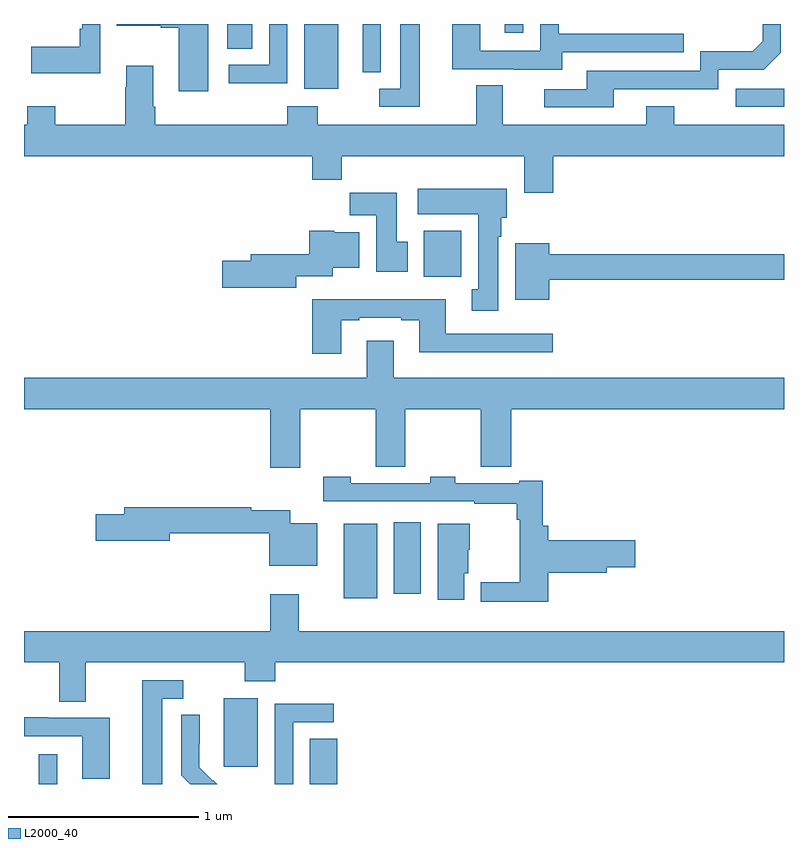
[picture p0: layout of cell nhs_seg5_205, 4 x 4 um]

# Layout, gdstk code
import gdstk
lib = gdstk.Library(unit=1e-6, precision=1e-09)
def R(c, l, rs):  # rectangles x0, y0, x1, y1
    for r in rs: c.add(gdstk.rectangle(r[:2], r[2:], *l))
def P(c, l, *ps):  # polygons
    for p in ps: c.add(gdstk.Polygon(p, *l))
L2000_40 = (2000, 40)

nhs_seg5_205 = lib.new_cell('nhs_seg5_205')
R(nhs_seg5_205, L2000_40, [(123.078,842.799,123.175,842.956), (124.505,842.799,124.649,843.038), (124.052,842.889,124.231,843.25), (124.682,843.776,124.858,844.168), (124.946,843.801,125.089,844.177), (125.105,845.468,125.302,845.71), (126.747,846.363,127,846.459), (124.475,846.458,124.654,846.799), (124.07,846.67,124.201,846.799), (125.531,846.753,125.628,846.799)])
P(nhs_seg5_205, L2000_40, [(125.833,846.651),(126.473,846.651),(126.473,846.747),(125.814,846.747),(125.814,846.799),(125.718,846.799),(125.718,846.657),(125.4,846.657),(125.4,846.799),(125.255,846.799),(125.255,846.561),(125.579,846.561),(125.579,846.557),(125.833,846.557)],
  [(126.103,846.456),(126.654,846.456),(126.654,846.558),(126.894,846.558),(126.984,846.648),(126.984,846.799),(126.888,846.799),(126.888,846.708),(126.835,846.655),(126.558,846.655),(126.558,846.552),(125.963,846.552),(125.963,846.456),(125.739,846.456),(125.739,846.36),(126.103,846.36)],
  [(124.878,846.799),(124.784,846.799),(124.784,846.698),(124.782,846.698),(124.782,846.544),(124.878,846.544)],
  [(124.386,846.799),(124.29,846.799),(124.29,846.585),(124.077,846.585),(124.077,846.487),(124.386,846.487)],
  [(123.402,846.799),(123.306,846.799),(123.306,846.775),(123.294,846.775),(123.294,846.679),(123.037,846.679),(123.037,846.539),(123.402,846.539)],
  [(123.97,846.799),(123.489,846.799),(123.489,846.791),(123.719,846.791),(123.719,846.779),(123.815,846.779),(123.815,846.444),(123.97,846.444)],
  [(125.083,846.799),(124.979,846.799),(124.979,846.459),(124.869,846.459),(124.869,846.363),(125.083,846.363)],
  [(125.786,846.104),(127,846.104),(127,846.268),(126.423,846.268),(126.423,846.367),(126.275,846.367),(126.275,846.268),(125.521,846.268),(125.521,846.476),(125.381,846.476),(125.381,846.268),(124.545,846.268),(124.545,846.367),(124.385,846.367),(124.385,846.268),(123.692,846.268),(123.692,846.364),(123.679,846.364),(123.679,846.58),(123.539,846.58),(123.539,846.467),(123.532,846.467),(123.532,846.268),(123.165,846.268),(123.165,846.367),(123.018,846.367),(123.018,846.268),(123,846.268),(123,846.104),(124.517,846.104),(124.517,845.98),(124.673,845.98),(124.673,846.104),(125.633,846.104),(125.633,845.91),(125.786,845.91)],
  [(125.497,845.678),(125.512,845.678),(125.512,845.778),(125.542,845.778),(125.542,845.932),(125.073,845.932),(125.073,845.798),(125.39,845.798),(125.39,845.402),(125.357,845.402),(125.357,845.289),(125.497,845.289)],
  [(125.02,845.652),(124.963,845.652),(124.963,845.911),(124.714,845.911),(124.714,845.792),(124.853,845.792),(124.853,845.496),(125.02,845.496)],
  [(124.432,845.472),(124.624,845.472),(124.624,845.516),(124.765,845.516),(124.765,845.704),(124.632,845.704),(124.632,845.71),(124.502,845.71),(124.502,845.588),(124.193,845.588),(124.193,845.552),(124.044,845.552),(124.044,845.41),(124.432,845.41)],
  [(125.764,845.452),(127,845.452),(127,845.588),(125.764,845.588),(125.764,845.644),(125.585,845.644),(125.585,845.348),(125.764,845.348)],
  [(124.669,845.241),(124.765,845.241),(124.765,845.253),(124.985,845.253),(124.985,845.241),(125.081,845.241),(125.081,845.072),(125.782,845.072),(125.782,845.169),(125.221,845.169),(125.221,845.35),(124.517,845.35),(124.517,845.064),(124.669,845.064)],
  [(124.455,844.772),(124.852,844.772),(124.852,844.468),(125.006,844.468),(125.006,844.772),(125.404,844.772),(125.404,844.468),(125.564,844.468),(125.564,844.772),(127,844.772),(127,844.936),(124.945,844.936),(124.945,845.131),(124.805,845.131),(124.805,844.936),(123,844.936),(123,844.772),(124.295,844.772),(124.295,844.464),(124.455,844.464)],
  [(125.759,843.91),(126.067,843.91),(126.067,843.94),(126.217,843.94),(126.217,844.082),(125.759,844.082),(125.759,844.159),(125.729,844.159),(125.729,844.396),(125.606,844.396),(125.606,844.383),(125.271,844.383),(125.271,844.416),(125.139,844.416),(125.139,844.383),(124.719,844.383),(124.719,844.416),(124.575,844.416),(124.575,844.287),(125.371,844.287),(125.371,844.275),(125.593,844.275),(125.593,844.19),(125.608,844.19),(125.608,843.86),(125.403,843.86),(125.403,843.758),(125.759,843.758)],
  [(124.543,844.171),(124.402,844.171),(124.402,844.239),(124.196,844.239),(124.196,844.256),(123.527,844.256),(123.527,844.22),(123.378,844.22),(123.378,844.078),(123.766,844.078),(123.766,844.12),(124.292,844.12),(124.292,843.947),(124.543,843.947)],
  [(125.317,843.909),(125.338,843.909),(125.338,844.032),(125.347,844.032),(125.347,844.168),(125.177,844.168),(125.177,843.768),(125.317,843.768)],
  [(123.325,843.44),(124.162,843.44),(124.162,843.341),(124.322,843.341),(124.322,843.44),(127,843.44),(127,843.604),(124.447,843.604),(124.447,843.799),(124.295,843.799),(124.295,843.604),(123,843.604),(123,843.44),(123.185,843.44),(123.185,843.232),(123.325,843.232)],
  [(123.727,843.249),(123.838,843.249),(123.838,843.345),(123.623,843.345),(123.623,842.799),(123.727,842.799)],
  [(124.416,843.123),(124.63,843.123),(124.63,843.222),(124.32,843.222),(124.32,842.799),(124.416,842.799)],
  [(123.996,842.82),(123.993,842.817),(123.923,842.888),(123.923,843.01),(123.924,843.01),(123.924,843.164),(123.828,843.164),(123.828,842.846),(123.875,842.799),(124.017,842.799)],
  [(123.451,843.147),(123.127,843.147),(123.127,843.151),(123,843.151),(123,843.051),(123.306,843.051),(123.306,842.827),(123.451,842.827)])

lib.write_gds('nhs_seg5_205.gds')
